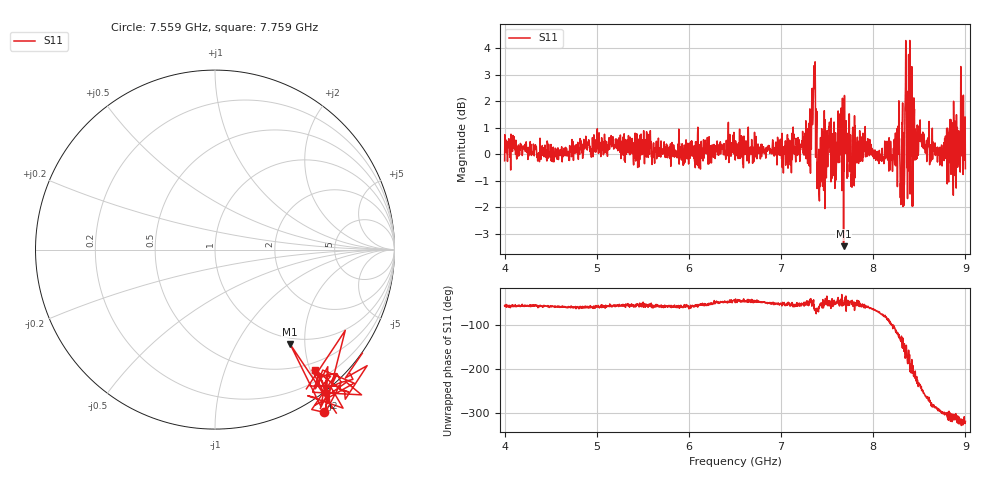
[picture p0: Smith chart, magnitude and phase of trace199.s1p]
! Created with skrf 1.8.0 (http://scikit-rf.org).
# Hz S RI R 50.0
!freq ReS11 ImS11
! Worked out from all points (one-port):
!   1601 points, 4 GHz to 9 GHz, reference 50 ohm
!   lowest |S11| = -3.5 dB at 7.678 GHz (marker M1), VSWR 5.08, Z = 44.7 - j85.4 ohm
!   |S11| at or under -10 dB: nowhere
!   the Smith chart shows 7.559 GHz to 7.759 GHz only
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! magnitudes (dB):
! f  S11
! 4 GHz  -0.3
! 4.625 GHz  -0.3
! 5.25 GHz  0.1
! 5.875 GHz  0.0
! 6.5 GHz  -0.2
! 7.125 GHz  0.1
! 7.303 GHz  0.1
! 7.347 GHz  1.9
! 7.362 GHz  3.3
! 7.4 GHz  -0.6
! 7.416 GHz  -1.8
! 7.519 GHz  1.0
! 7.572 GHz  -0.3
! 7.631 GHz  -0.1
! 7.678 GHz  -3.5
! 7.75 GHz  0.4
! 8.2 GHz  0.0
! 8.262 GHz  -1.2
! 8.316 GHz  1.1
! 8.334 GHz  -1.2
! 8.347 GHz  1.9
! 8.366 GHz  -0.5
! 8.375 GHz  1.6
! 8.447 GHz  1.7
! 8.503 GHz  0.5
! 8.875 GHz  0.7
! 8.972 GHz  0.5
! 9 GHz  -0.5
